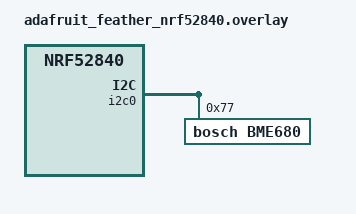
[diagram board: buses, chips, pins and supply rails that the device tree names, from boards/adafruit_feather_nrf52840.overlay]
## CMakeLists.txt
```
#
# Copyright (c) 2018 Bosch Sensortec GmbH
#
# SPDX-License-Identifier: Apache-2.0
#

cmake_minimum_required(VERSION 3.20.0)
find_package(Zephyr REQUIRED HINTS $ENV{ZEPHYR_BASE})
project(bme680)

FILE(GLOB app_sources src/*.c)
target_sources(app PRIVATE ${app_sources})
```

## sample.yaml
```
sample:
  name: BME680 Sensor sample
tests:
  sample.sensor.bme680:
    harness: sensor
    tags:
      - samples
      - sensor
    integration_platforms:
      - nrf52840dk/nrf52840
    platform_allow:
      - nrf52840dk/nrf52840
      - adafruit_feather/nrf52840
```

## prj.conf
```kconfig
CONFIG_STDOUT_CONSOLE=y
CONFIG_I2C=y
CONFIG_SENSOR=y
CONFIG_BME680=y
```

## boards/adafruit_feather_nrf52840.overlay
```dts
/*
 * Copyright (c) 2020, Patrick Moffitt <patrick@moffitt.com>
 *
 * SPDX-License-Identifier: Apache-2.0
 *
 * i2c interface for the Feather nRF52840 Express and the
 * Adafruit BME680.
 */

&i2c0 {
	compatible = "nordic,nrf-twi";
	bme680: bme680@77 {
		compatible = "bosch,bme680";
		reg = <0x77>;
	};
};
```

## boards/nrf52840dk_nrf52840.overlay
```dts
/*
 * Copyright (c) 2020, Nordic Semiconductor ASA
 *
 * SPDX-License-Identifier: Apache-2.0
 */

&i2c0 {
	bme680@76 {
		compatible = "bosch,bme680";
		reg = <0x76>;
	};
};
```

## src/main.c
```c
/*
 * Copyright (c) 2018 Bosch Sensortec GmbH
 *
 * SPDX-License-Identifier: Apache-2.0
 */

#include <zephyr/kernel.h>
#include <zephyr/device.h>
#include <zephyr/drivers/sensor.h>
#include <stdio.h>

int main(void)
{
	const struct device *const dev = DEVICE_DT_GET_ONE(bosch_bme680);
	struct sensor_value temp, press, humidity, gas_res;

	if (!device_is_ready(dev)) {
		printk("sensor: device not ready.\n");
		return 0;
	}

	printf("Device %p name is %s\n", dev, dev->name);

#ifndef CONFIG_COVERAGE
	while (1) {
#else
	for (int i = 0; i < 5; i++) {
#endif
		k_sleep(K_MSEC(3000));

		sensor_sample_fetch(dev);
		sensor_channel_get(dev, SENSOR_CHAN_AMBIENT_TEMP, &temp);
		sensor_channel_get(dev, SENSOR_CHAN_PRESS, &press);
		sensor_channel_get(dev, SENSOR_CHAN_HUMIDITY, &humidity);
		sensor_channel_get(dev, SENSOR_CHAN_GAS_RES, &gas_res);

		printf("T: %d.%06d; P: %d.%06d; H: %d.%06d; G: %d.%06d\n",
				temp.val1, temp.val2, press.val1, press.val2,
				humidity.val1, humidity.val2, gas_res.val1,
				gas_res.val2);
	}
	return 0;
}
```
